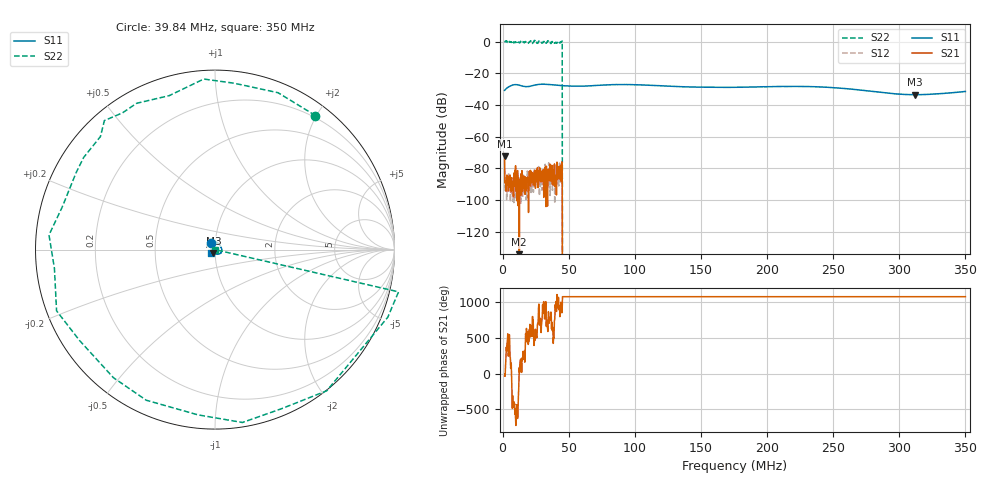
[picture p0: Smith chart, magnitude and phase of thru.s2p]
# Hz S RI R 50
! RAW DATA - UNCALIBRATED
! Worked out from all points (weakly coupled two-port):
!   1601 points, 1.5 MHz to 350 MHz, reference 50 ohm
!   highest |S21| = -72.43 dB at 1.5 MHz (marker M1); lowest = -185.0 dB at 12.61 MHz (marker M2)
!   lowest |S11| = -33.5 dB at 312.1 MHz (marker M3), VSWR 1.04, Z = 49 - j1.85 ohm
!   |S11| at or under -10 dB: start of sweep to end of sweep
!   |S22| runs from - to 0.7 dB; largest |S21 - S12| = 0.00023
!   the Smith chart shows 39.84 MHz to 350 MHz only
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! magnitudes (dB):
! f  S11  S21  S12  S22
! 1.5 MHz  -30.8  -72.4  -80.4  0.5
! 3.46 MHz  -29.2  -90.8  -92.3  -0.3
! 8.034 MHz  -27.3  -94.5  -91.0  0.0
! 12.61 MHz  -27.5  -185.0  -90.3  -0.4
! 18.05 MHz  -28.5  -93.7  -89.0  -0.3
! 22.85 MHz  -27.8  -82.7  -82.5  -0.7
! 29.38 MHz  -26.9  -86.2  -90.2  -0.6
! 33.74 MHz  -27.0  -94.8  -87.2  0.1
! 40.92 MHz  -27.5  -86.1  -83.9  -0.7
! 43.32 MHz  -27.7  -80.6  -81.7  -0.8
! 47.02 MHz  -27.9  -  -  -
! 59.66 MHz  -28.1  -  -  -
! 87.97 MHz  -27.1  -  -  -
! 117.8 MHz  -27.8  -  -  -
! 143.7 MHz  -28.7  -  -  -
! 175.8 MHz  -28.8  -  -  -
! 233.9 MHz  -28.5  -  -  -
! 258.7 MHz  -29.6  -  -  -
! 292.1 MHz  -32.6  -  -  -
! 312.1 MHz  -33.5  -  -  -
! 328.7 MHz  -33.0  -  -  -
! 350 MHz  -31.5  -  -  -
